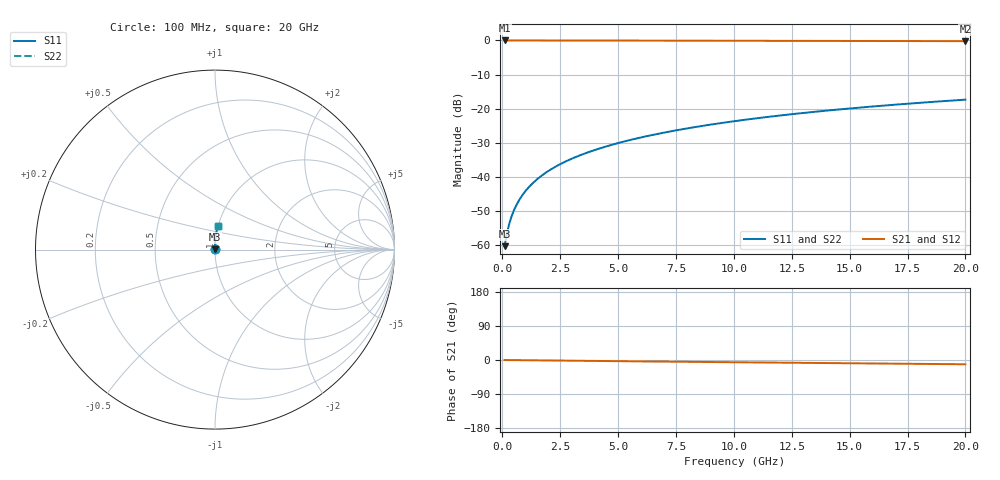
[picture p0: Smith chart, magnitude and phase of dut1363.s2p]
! Touchstone file exported from HFSS 2024.1.0
!  File:  C:/UserFiles/LocalFiles/RDL_TSV_Batchsim/temp_RDL_top_1363_1780366663.aedt
!  Generated:  10:20:22 AM Jun  2, 2026
!  Design:  RDL_top
!  Project:  temp_RDL_top_1363_1780366663
!  Setup:  Setup1
!  Solution:  Sweep
! Variables:
!  dtsv = 10.80580581um
!  hbump = 3um
!  htsv = 82.22um
!  ldown = 100um
!  lrdl = 119.47um
!  p = 40
!  p1 = 52.23um
!  rhole = 1um
!  t = 450um
!  tdown = 3.915915916um
!  trdl = 3.88um
!  wdown = 15.38538539um
!  wrdl = 21.69um
# GHz S MA R 50.000000
! Terminal data exported
! Port[1] = Box2_T1
! Port[2] = Box2_T2
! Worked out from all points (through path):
!   200 points, 100 MHz to 20 GHz, reference 50 ohm
!   highest |S21| = -0.01 dB at 100 MHz (marker M1); lowest = -0.2 dB at 20 GHz (marker M2)
!   group delay of S21, straight-line fit = 1.55 ps
!   lowest |S11| = -60.4 dB at 100 MHz (marker M3), VSWR 1.00, Z = 50.1 + j0.0651 ohm
!   |S11| at or under -10 dB: start of sweep to end of sweep
!   |S22| runs from -60.4 to -17.4 dB; largest |S21 - S12| = 3.1e-15
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0.1  0.0009585 42.7  0.9993 -0.1  0.9993 -0.1  0.0009585 42.7
! Gamma 0 0 0 0
! Port Impedance 50 0 50 0
0.2  0.001477 60.2  0.9993 -0.1  0.9993 -0.1  0.001477 60.2
0.3  0.002043 68.1  0.9992 -0.2  0.9992 -0.2  0.002043 68.1
0.4  0.00262 72.6  0.9992 -0.3  0.9992 -0.3  0.00262 72.6
0.5  0.003201 75.6  0.9991 -0.3  0.9991 -0.3  0.003201 75.6
0.6  0.003786 77.8  0.9991 -0.4  0.9991 -0.4  0.003786 77.8
0.8  0.004967 80.6  0.999 -0.5  0.999 -0.5  0.004967 80.6
1.1  0.006757 83.2  0.9989 -0.7  0.9989 -0.7  0.006757 83.2
1.5  0.009169 85.2  0.9987 -1.0  0.9987 -1.0  0.009169 85.2
1.8  0.01099 86.2  0.9986 -1.1  0.9986 -1.1  0.01099 86.2
2.1  0.01283 86.9  0.9984 -1.3  0.9984 -1.3  0.01283 86.9
2.7  0.01653 87.8  0.9979 -1.7  0.9979 -1.7  0.01653 87.8
3.5  0.02154 88.6  0.9972 -2.2  0.9972 -2.2  0.02154 88.6
4.2  0.02601 89.0  0.9964 -2.6  0.9964 -2.6  0.02601 89.0
5  0.03119 89.3  0.9954 -3.1  0.9954 -3.1  0.03119 89.3
5.9  0.03713 89.4  0.9943 -3.6  0.9943 -3.6  0.03713 89.4
6.8  0.04316 89.3  0.9931 -4.1  0.9931 -4.1  0.04316 89.3
8.4  0.0541 88.9  0.9909 -5.0  0.9909 -5.0  0.0541 88.9
10.1  0.06592 88.2  0.9887 -6.0  0.9887 -6.0  0.06592 88.2
13.4  0.08912 86.4  0.9844 -7.8  0.9844 -7.8  0.08912 86.4
16.7  0.1123 84.4  0.9802 -9.5  0.9802 -9.5  0.1123 84.4
20  0.1353 82.4  0.9759 -11.3  0.9759 -11.3  0.1353 82.4
